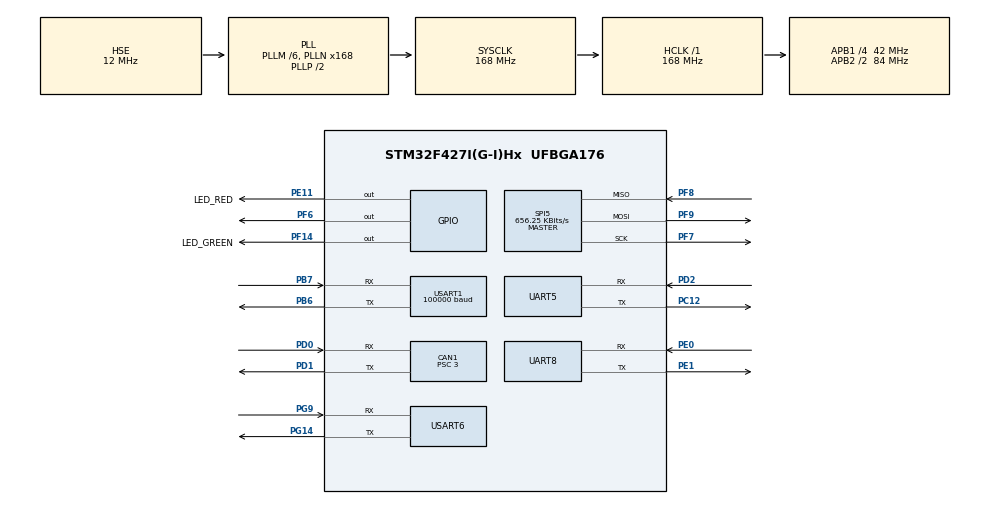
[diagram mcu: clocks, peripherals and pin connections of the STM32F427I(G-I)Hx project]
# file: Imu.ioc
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CAN1.BS1=CAN_BS1_11TQ
CAN1.BS2=CAN_BS2_2TQ
CAN1.CalculateBaudRate=1000000
CAN1.CalculateTimeBit=1000
CAN1.CalculateTimeQuantum=71.42857142857143
CAN1.Prescaler=3
Dma.Request0=USART1_RX
Dma.Request1=UART8_RX
Dma.UART8_RX.1.Direction=DMA_PERIPH_TO_MEMORY
Dma.UART8_RX.1.FIFOMode=DMA_FIFOMODE_DISABLE
Dma.UART8_RX.1.Instance=DMA1_Stream6
Dma.UART8_RX.1.MemDataAlignment=DMA_MDATAALIGN_BYTE
Dma.UART8_RX.1.MemInc=DMA_MINC_ENABLE
Dma.UART8_RX.1.Mode=DMA_NORMAL
Dma.UART8_RX.1.PeriphDataAlignment=DMA_PDATAALIGN_BYTE
Dma.UART8_RX.1.PeriphInc=DMA_PINC_DISABLE
Dma.UART8_RX.1.Priority=DMA_PRIORITY_LOW
Dma.USART1_RX.0.Direction=DMA_PERIPH_TO_MEMORY
Dma.USART1_RX.0.FIFOMode=DMA_FIFOMODE_DISABLE
Dma.USART1_RX.0.Instance=DMA2_Stream2
Dma.USART1_RX.0.MemDataAlignment=DMA_MDATAALIGN_BYTE
Dma.USART1_RX.0.MemInc=DMA_MINC_ENABLE
Dma.USART1_RX.0.Mode=DMA_CIRCULAR
Dma.USART1_RX.0.PeriphDataAlignment=DMA_PDATAALIGN_BYTE
Dma.USART1_RX.0.PeriphInc=DMA_PINC_DISABLE
Dma.USART1_RX.0.Priority=DMA_PRIORITY_LOW
Mcu.Family=STM32F4
Mcu.Name=STM32F427I(G-I)Hx
Mcu.Package=UFBGA176
NVIC.CAN1_RX0_IRQn=true\:0\:0\:false\:false\:true\:true\:true\:true
NVIC.DMA1_Stream6_IRQn=true\:0\:0\:false\:false\:true\:false\:true\:true
NVIC.DMA2_Stream2_IRQn=true\:0\:0\:false\:false\:true\:false\:true\:true
NVIC.PriorityGroup=NVIC_PRIORITYGROUP_4
NVIC.UART8_IRQn=true\:0\:0\:false\:false\:true\:true\:true\:true
NVIC.USART6_IRQn=true\:0\:0\:false\:false\:true\:true\:true\:true
PA13.Mode=Serial_Wire
PA13.Signal=SYS_JTMS-SWDIO
PA14.Mode=Serial_Wire
PA14.Signal=SYS_JTCK-SWCLK
PB6.Mode=Asynchronous
PB6.Signal=USART1_TX
PB7.Mode=Asynchronous
PB7.Signal=USART1_RX
PC12.Mode=Asynchronous
PC12.Signal=UART5_TX
PD0.Mode=CAN_Activate
PD0.Signal=CAN1_RX
PD1.Mode=CAN_Activate
PD1.Signal=CAN1_TX
PD2.Mode=Asynchronous
PD2.Signal=UART5_RX
PE0.Mode=Asynchronous
PE0.Signal=UART8_RX
PE1.Mode=Asynchronous
PE1.Signal=UART8_TX
PE11.GPIO_Label=LED_RED
PE11.Signal=GPIO_Output
PF14.GPIO_Label=LED_GREEN
PF14.Signal=GPIO_Output
PF6.Signal=GPIO_Output
PF7.Mode=Full_Duplex_Master
PF7.Signal=SPI5_SCK
PF8.Mode=Full_Duplex_Master
PF8.Signal=SPI5_MISO
PF9.Mode=Full_Duplex_Master
PF9.Signal=SPI5_MOSI
PG14.Mode=Asynchronous
PG14.Signal=USART6_TX
PG9.Mode=Asynchronous
PG9.Signal=USART6_RX
PH0/OSC_IN.Mode=HSE-External-Oscillator
PH0/OSC_IN.Signal=RCC_OSC_IN
PH1/OSC_OUT.Mode=HSE-External-Oscillator
PH1/OSC_OUT.Signal=RCC_OSC_OUT
ProjectManager.HeapSize=0x200
ProjectManager.StackSize=0x400
ProjectManager.TargetToolchain=MDK-ARM V5
RCC.48MHZClocksFreq_Value=84000000
RCC.AHBFreq_Value=168000000
RCC.APB1CLKDivider=RCC_HCLK_DIV4
RCC.APB1Freq_Value=42000000
RCC.APB1TimFreq_Value=84000000
RCC.APB2CLKDivider=RCC_HCLK_DIV2
RCC.APB2Freq_Value=84000000
RCC.APB2TimFreq_Value=168000000
RCC.CortexFreq_Value=168000000
RCC.HCLKFreq_Value=168000000
RCC.HSE_VALUE=12000000
RCC.HSI_VALUE=16000000
RCC.LSE_VALUE=32768
RCC.PLLM=6
RCC.PLLN=168
RCC.PLLSourceVirtual=RCC_PLLSOURCE_HSE
RCC.SYSCLKFreq_VALUE=168000000
RCC.SYSCLKSource=RCC_SYSCLKSOURCE_PLLCLK
RCC.VCOOutputFreq_Value=336000000
SPI5.BaudRatePrescaler=SPI_BAUDRATEPRESCALER_128
SPI5.CalculateBaudRate=656.25 KBits/s
SPI5.Direction=SPI_DIRECTION_2LINES
SPI5.Mode=SPI_MODE_MASTER
SPI5.VirtualType=VM_MASTER
UART5.VirtualMode=Asynchronous
UART8.VirtualMode=Asynchronous
USART1.BaudRate=100000
USART1.Mode=MODE_RX
USART1.Parity=PARITY_EVEN
USART1.StopBits=STOPBITS_2
USART1.VirtualMode=VM_ASYNC
USART6.VirtualMode=VM_ASYNC
board=Imu

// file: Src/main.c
/* USER CODE BEGIN Header */
/**
 ******************************************************************************
 * @file           : main.c
 * @brief          : Main program body
 ******************************************************************************
 * @attention
 *
 * Copyright (c) 2026 STMicroelectronics.
 * All rights reserved.
 *
 * This software is licensed under terms that can be found in the LICENSE file
 * in the root directory of this software component.
 * If no LICENSE file comes with this software, it is provided AS-IS.
 *
 ******************************************************************************
 */
/* USER CODE END Header */
#include "main.h"
#include "can.h"
#include "dma.h"
#include "spi.h"
#include "usart.h"
#include "gpio.h"

/* USER CODE BEGIN Includes */
#include "bsp_imu.h"
#include "bsp_dbus.h"
#include "bsp_tune.h"
#include "dm4310.h"
#include "jc_motor.h"
#include "state_estimator.h"
#include "balance_ctrl.h"
#include <stdio.h>
#include <string.h>
#include <math.h>
/* USER CODE END Includes */

/* USER CODE BEGIN PV */
extern UART_HandleTypeDef huart8;
static uint32_t last_ctrl_tick = 0;
static uint32_t last_print_tick = 0;
static char dbg_buf[256];
static uint8_t motors_enabled = 1;
float target_v       = 0.0f; // 历史全局量；实际控制使用 g_state.target_v (m/s)
float target_turn    = 0.0f; // 目标转向角速度 (rad/s)
float target_leg_len = 100.0f; // 目标腿长 (mm)

/* USER CODE END PV */

void SystemClock_Config(void);
/* USER CODE BEGIN PFP */
/* Private function prototypes -----------------------------------------------*/
/* USER CODE END PFP */

int main(void)
{

  /* MCU Configuration--------------------------------------------------------*/

  /* Reset of all peripherals, Initializes the Flash interface and the Systick. */
  HAL_Init();

  /* Configure the system clock */
  SystemClock_Config();

  /* Initialize all configured peripherals */
  MX_GPIO_Init();
  MX_DMA_Init();
  MX_SPI5_Init();
  MX_USART6_UART_Init();
  MX_UART8_Init();
  MX_CAN1_Init();
  MX_USART1_UART_Init();
  MX_UART5_Init();
  /* USER CODE BEGIN 2 */
  bsp_dbus_init();
  bsp_tune_init();
  if (mpu_device_init() != 0) Error_Handler(); /* No motor enable after sensor init failure. */
  mpu_get_data();        /* 先读一次传感器，填充 imu 数据供 init_quaternion() 使用 */
  init_quaternion();
  /* 等待IMU收敛（2秒） */
  for (int i = 0; i < 1000; i++) {
      mpu_get_data();
      imu_ahrs_update();
      imu_attitude_update();
      HAL_Delay(2);
  }
  bsp_can_init();  /* 统一CAN初始化，达妙和JC共用 */
  HAL_Delay(100);
  /* 使能关节电机 */
  for (uint8_t id = 1; id <= 4; id++) {
      dm4310_enable(id);
      HAL_Delay(5);
  }
  /* 使能轮毂电机（力矩模式） */
  jc_motor_set_mode(MOTOR_L_WHEEL, MODE_TORQUE);
  HAL_Delay(5);
  jc_motor_enable(MOTOR_L_WHEEL);
  HAL_Delay(5);
  jc_motor_set_mode(MOTOR_R_WHEEL, MODE_TORQUE);
  HAL_Delay(5);
  jc_motor_enable(MOTOR_R_WHEEL);
  HAL_Delay(5);
  /* USER CODE END 2 */

  /* Infinite loop */
  while (1)
  {

    /* USER CODE BEGIN 3 */
    mpu_get_data();
    imu_ahrs_update();
    imu_attitude_update();
    robot_logic_update();
    bsp_tune_process(g_state.robot_state == ROBOT_ESTOP);
    /* 2ms控制节拍 */
    if (HAL_GetTick() - last_ctrl_tick >= 2)
    {
      static uint8_t joint_poll_id = 1;
      static uint8_t wheel_poll_id = 5;
      static uint32_t last_est_tick = 0;
      uint32_t now = HAL_GetTick();
      float dt = (float)(now - last_est_tick) / 1000.0f;
      if (dt < 0.001f) dt = 0.001f;
      if (dt > 0.005f) dt = 0.005f;
      last_est_tick = now;

      /* 轮毂电机速度反馈（rpm -> m/s） */
      const float RPM_TO_MS = (3.14159265f * 0.066f) / 60.0f;
      g_state.v_wheel_L = g_motor_fb[MOTOR_L_WHEEL].velocity * RPM_TO_MS;
      g_state.v_wheel_R = -g_motor_fb[MOTOR_R_WHEEL].velocity * RPM_TO_MS;

      state_estimator_update(dt);

      /* 跌倒检测：超过1rad则停机 */
////////////////////////////////////////////////////////////////////
      if (motors_enabled && (!imu_is_healthy() || !isfinite(g_state.theta) || fabsf(g_state.theta) > 1.0f)) {
///////////////////////////////////////////////////////////////////
        for (uint8_t id = 1; id <= 4; id++){
            dm4310_disable(id);
            HAL_Delay(1);
        }
        jc_motor_disable(MOTOR_L_WHEEL);
        HAL_Delay(1);
        jc_motor_disable(MOTOR_R_WHEEL);
        motors_enabled = 0;
      }
      /* Preserve original STOP toggle; suppress new position/velocity targets.
       * STOP does not introduce a new motor enable or re-arm workflow. */
      if (!motors_enabled || g_state.robot_state == ROBOT_ESTOP) {
        jc_motor_set_torque(MOTOR_L_WHEEL, 0);
        jc_motor_set_torque(MOTOR_R_WHEEL, 0);
      }
      if (motors_enabled && g_state.robot_state != ROBOT_ESTOP) {
        float tau_fL, tau_bL, tau_fR, tau_bR;
        float pos_fL, pos_bL, pos_fR, pos_bR;
        float vel_fL, vel_bL, vel_fR, vel_bR;
        float tau_wL, tau_wR;
        balance_ctrl_update(
            & (g_state.robot_state),
            g_state.target_v, g_state.target_turn, g_state.target_leg_len,
            g_state.l_L, g_state.phi_L,      /* 直接传 mm, leg_ik 期望 mm */
            g_state.l_R, g_state.phi_R,
            g_state.theta, g_state.dtheta,
            g_state.dyaw,
            g_state.v_wheel_L, g_state.v_wheel_R,
            &tau_fL, &tau_bL, &tau_fR, &tau_bR,
            &pos_fL, &pos_bL, &pos_fR, &pos_bR,
            &vel_fL, &vel_bL, &vel_fR, &vel_bR,
            &tau_wL, &tau_wR);

        /* 起身时 kp=0 纯速度控制, 平衡时位置跟踪 */
        float pose_kp = leg_pos_kp;
        float pose_kd = leg_pos_kd;
        if (g_state.robot_state == ROBOT_STANDUP) {
            pose_kp = 0.0f;
            pose_kd = 2.0f;
        }

        switch (joint_poll_id) {
          case 1: dm4310_mit_send(1, pos_fL, vel_fL, pose_kp, pose_kd,  tau_fL); break;
          case 2: dm4310_mit_send(2, pos_bL, vel_bL, pose_kp, pose_kd, -tau_bL); break;
          case 3: dm4310_mit_send(3, pos_bR, vel_bR, pose_kp, pose_kd, -tau_bR); break;
          case 4: dm4310_mit_send(4, pos_fR, vel_fR, pose_kp, pose_kd,  tau_fR); break;
        }
        switch (wheel_poll_id) {
          case 5: jc_motor_set_torque(MOTOR_L_WHEEL, tau_wL); break;
          case 6: jc_motor_set_torque(MOTOR_R_WHEEL, tau_wR); break;
        }
      }

      if (++joint_poll_id > 4) joint_poll_id = 1;
      if (++wheel_poll_id > 6) wheel_poll_id = 5;
      last_ctrl_tick = HAL_GetTick();
    }
    if (HAL_GetTick() - last_print_tick >= 300U) {
      int len = snprintf(dbg_buf, sizeof(dbg_buf),
          "st:%d|th:%.2f|dth:%.2f|yaw:%.2f|dyaw:%.2f\r\n",
          g_state.robot_state, g_state.theta, g_state.dtheta, g_state.yaw, g_state.dyaw);
      last_print_tick = HAL_GetTick();
      if (len > 0 && (size_t)len < sizeof(dbg_buf))
          HAL_UART_Transmit(&huart8, (uint8_t *)dbg_buf, (uint16_t)len, 5U);
    }
  }
  /* USER CODE END 3 */
}

void SystemClock_Config(void)
{
  RCC_OscInitTypeDef RCC_OscInitStruct = {0};
  RCC_ClkInitTypeDef RCC_ClkInitStruct = {0};

  /** Configure the main internal regulator output voltage
  */
  __HAL_RCC_PWR_CLK_ENABLE();
  __HAL_PWR_VOLTAGESCALING_CONFIG(PWR_REGULATOR_VOLTAGE_SCALE1);

  /** Initializes the RCC Oscillators according to the specified parameters
  * in the RCC_OscInitTypeDef structure.
  */
  RCC_OscInitStruct.OscillatorType = RCC_OSCILLATORTYPE_HSE;
  RCC_OscInitStruct.HSEState = RCC_HSE_ON;
  RCC_OscInitStruct.PLL.PLLState = RCC_PLL_ON;
  RCC_OscInitStruct.PLL.PLLSource = RCC_PLLSOURCE_HSE;
  RCC_OscInitStruct.PLL.PLLM = 6;
  RCC_OscInitStruct.PLL.PLLN = 168;
  RCC_OscInitStruct.PLL.PLLP = RCC_PLLP_DIV2;
  RCC_OscInitStruct.PLL.PLLQ = 4;
  if (HAL_RCC_OscConfig(&RCC_OscInitStruct) != HAL_OK)
  {
    Error_Handler();
  }

  /** Initializes the CPU, AHB and APB buses clocks
  */
  RCC_ClkInitStruct.ClockType = RCC_CLOCKTYPE_HCLK|RCC_CLOCKTYPE_SYSCLK
                              |RCC_CLOCKTYPE_PCLK1|RCC_CLOCKTYPE_PCLK2;
  RCC_ClkInitStruct.SYSCLKSource = RCC_SYSCLKSOURCE_PLLCLK;
  RCC_ClkInitStruct.AHBCLKDivider = RCC_SYSCLK_DIV1;
  RCC_ClkInitStruct.APB1CLKDivider = RCC_HCLK_DIV4;
  RCC_ClkInitStruct.APB2CLKDivider = RCC_HCLK_DIV2;

  if (HAL_RCC_ClockConfig(&RCC_ClkInitStruct, FLASH_LATENCY_5) != HAL_OK)
  {
    Error_Handler();
  }
}

/* USER CODE BEGIN 4 */
void HAL_UARTEx_RxEventCallback(UART_HandleTypeDef *huart, uint16_t Size)
{
    if (huart->Instance == USART1)
    {
        dbus_uart_rx_callback(Size);
    }
    else if (huart->Instance == UART8)
    {
        tune_uart_rx_callback(Size);
    }
    // 以后如果加了视觉串口 UART6，直接在这里加一个 else if (huart->Instance == USART6) vision_uart_rx_callback(Size); 即可
}
/**
  * @brief  全局串口错误中断回调 (总路由器)
  */
void HAL_UART_ErrorCallback(UART_HandleTypeDef *huart)
{
    if (huart->Instance == USART1)
    {
        dbus_uart_error_callback();
    }
    else if (huart->Instance == UART8)
    {
        tune_uart_error_callback();
    }
}
/* USER CODE END 4 */

void Error_Handler(void)
{
  while (1)
  {
  }
}
